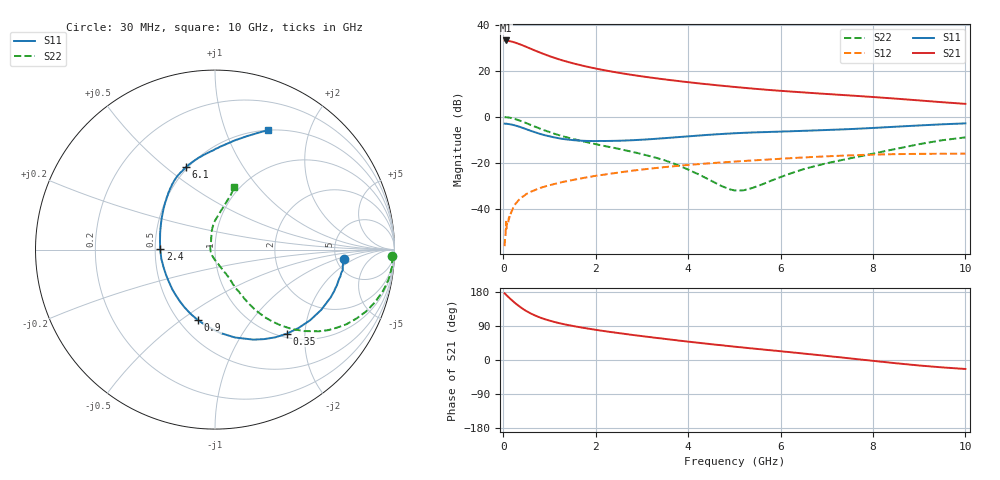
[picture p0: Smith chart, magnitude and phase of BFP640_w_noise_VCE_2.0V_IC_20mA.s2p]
! (c) 2013  Infineon Technologies AG, Munich
! Infineon Technologies  Discrete & RF Semiconductors
! BFP640
! VCE =  2.0 V,  IC =  20 mA
! Common Emitter S-Parameters:  Apr 2013
# GHz  S  MA  R  50
!  f  S11  S21  S12  S22
! GHz  MAG  ANG  MAG  ANG  MAG  ANG  MAG  ANG
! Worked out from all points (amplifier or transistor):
!   99 points, 30 MHz to 10 GHz, reference 50 ohm
!   highest |S21| = 33.2 dB at 50 MHz (marker M1)
!   |S21| within 3 dB of that: start of sweep to 525.7 MHz
!   unconditionally stable (mu >= 1): 2.752 GHz to end of sweep
!   at 350 MHz: K = 0.26, MSG = 33.6 dB, |S12| = -35.7 dB
!   at 3.5 GHz: K = 1.03, MAG = 17.8 dB, |S12| = -21.6 dB
!   at 10 GHz: K = 1.07, MAG = 9.1 dB, |S12| = -15.9 dB
!   lowest NFmin = 0.85 dB at 450 MHz
!   S11 on the Smith chart (normalised r, x): 30 MHz: 5.83, -1.30; 350 MHz: 1.07, -1.62; 900 MHz: 0.62, -0.58; 2.4 GHz: 0.53, +0.01; 6.1 GHz: 0.49, +0.59; 10 GHz: 0.50, +1.42
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0.03  0.7193 -4.3  45.42 175.9  0.0016 101.7  0.9871 -2.1
0.05  0.7172 -7.2  45.56 173.7  0.0028 106.1  0.9889 -4.2
0.11  0.7076 -16.4  44.7 166.5  0.0053 75.9  0.9806 -10.0
0.2  0.6806 -29.5  42.64 156.3  0.01 77.5  0.9394 -18.1
0.25  0.6604 -36.5  41.26 151.0  0.0126 75.3  0.9102 -22.2
0.35  0.6166 -49.4  37.92 141.4  0.0165 71.7  0.8422 -29.6
0.45  0.5686 -61.3  34.69 132.9  0.0196 65.9  0.773 -35.5
0.6  0.5018 -77.3  30.01 122.5  0.0242 62.1  0.672 -42.5
0.7  0.465 -86.5  27.23 116.9  0.0266 60.1  0.6128 -46.1
0.8  0.4309 -95.5  24.83 111.9  0.0292 58.9  0.5601 -49.0
0.9  0.4043 -103.6  22.73 107.7  0.0313 57.8  0.5131 -51.4
1.1  0.3633 -118.0  19.29 100.6  0.0354 56.3  0.4377 -54.8
1.2  0.348 -124.4  17.89 97.6  0.0374 55.3  0.4075 -56.1
1.4  0.3258 -136.5  15.62 92.3  0.0413 54.5  0.3585 -57.9
1.7  0.3071 -152.4  13.09 85.6  0.0472 52.9  0.3014 -59.3
2.4  0.3052 179.1  9.452 72.7  0.0608 48.8  0.2151 -62.7
3.4  0.3442 149.8  6.722 57.1  0.0807 41.9  0.123 -69.1
5.1  0.4502 119.5  4.396 34.0  0.1102 28.1  0.0257 -172.8
6.1  0.489 109.1  3.639 21.9  0.1267 20.0  0.0545 113.4
6.7  0.5118 102.3  3.31 14.5  0.1366 14.5  0.0842 103.2
8.5  0.6186 79.7  2.503 -8.6  0.1575 -3.3  0.2046 82.9
10  0.7297 65.9  1.931 -23.7  0.1611 -15.0  0.3626 72.7
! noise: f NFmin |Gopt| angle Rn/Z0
0.45  0.85  0.13  6  0.02
0.9  0.85  0.13  14  0.03
1.5  0.88  0.1  26  0.04
1.9  0.9  0.14  -134  0.05
2.4  0.94  0.19  -119  0.06
3.5  1.06  0.24  -104  0.08
5.5  1.25  0.25  -96  0.15
10  1.74  0.58  -55  0.46
